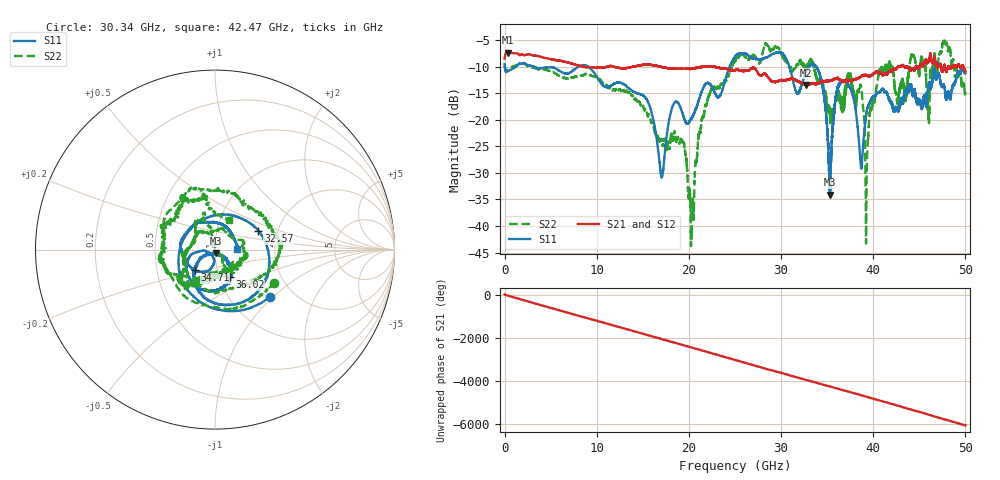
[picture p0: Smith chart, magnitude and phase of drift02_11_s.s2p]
!Created with skrf (http://scikit-rf.org).
# Hz S RI R 50.0
!freq ReS11 ImS11 ReS21 ImS21 ReS12 ImS12 ReS22 ImS22
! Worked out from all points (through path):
!   10001 points, 300 kHz to 50 GHz, reference 50 ohm
!   highest |S21| = -7.32 dB at 320.3 MHz (marker M1); lowest = -13.4 dB at 32.73 GHz (marker M2)
!   group delay of S21, straight-line fit = 335 ps
!   lowest |S11| = -34.1 dB at 35.31 GHz (marker M3), VSWR 1.04, Z = 50.4 - j1.94 ohm
!   |S11| at or under -10 dB: 3.237 GHz to 8.01 GHz (4.773 GHz wide, 84.9 % of centre); 9.103 GHz to 24.41 GHz (15.31 GHz wide, 91.4 % of centre); 33.83 GHz to end of sweep (the widest 3 of 9)
!   |S22| runs from -43.8 to -5.0 dB; largest |S21 - S12| = 0.015
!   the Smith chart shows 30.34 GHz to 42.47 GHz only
!   S11 on the Smith chart (normalised r, x): 30.34 GHz: 1.52, -0.95; 32.57 GHz: 1.59, +0.36; 34.71 GHz: 0.78, -0.18; 36.02 GHz: 1.12, -0.36; 42.47 GHz: 1.28, +0.01
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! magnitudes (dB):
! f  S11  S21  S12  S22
! 300 kHz  -9.5  -8.5  -8.5  -9.5
! 320.3 MHz  -10.9  -7.3  -7.3  -10.6
! 8.335 GHz  -9.7  -9.9  -9.9  -11.6
! 16.67 GHz  -25.9  -9.9  -9.9  -23.3
! 19.32 GHz  -18.8  -10.4  -10.4  -24.3
! 20.34 GHz  -19.5  -10.4  -10.4  -37.0
! 21.94 GHz  -13.1  -9.9  -10.0  -16.9
! 25 GHz  -8.1  -10.6  -10.7  -9.0
! 30.34 GHz  -7.9  -12.5  -12.6  -8.4
! 32.57 GHz  -11.6  -13.2  -13.3  -10.3
! 32.73 GHz  -10.9  -13.4  -13.5  -9.9
! 33.34 GHz  -9.5  -13.1  -13.2  -9.0
! 34.71 GHz  -15.9  -12.7  -12.7  -14.8
! 35.31 GHz  -34.1  -12.6  -12.6  -19.6
! 36.02 GHz  -15.2  -12.3  -12.2  -16.2
! 37.57 GHz  -14.2  -12.7  -12.7  -12.2
! 38.58 GHz  -27.0  -12.0  -12.0  -13.7
! 39.3 GHz  -18.3  -11.6  -11.7  -29.0
! 41.67 GHz  -16.0  -11.0  -11.1  -9.8
! 42.47 GHz  -18.2  -10.4  -10.4  -14.9
! 47.76 GHz  -14.1  -9.7  -9.7  -5.2
! 50 GHz  -11.2  -10.9  -10.9  -15.0
